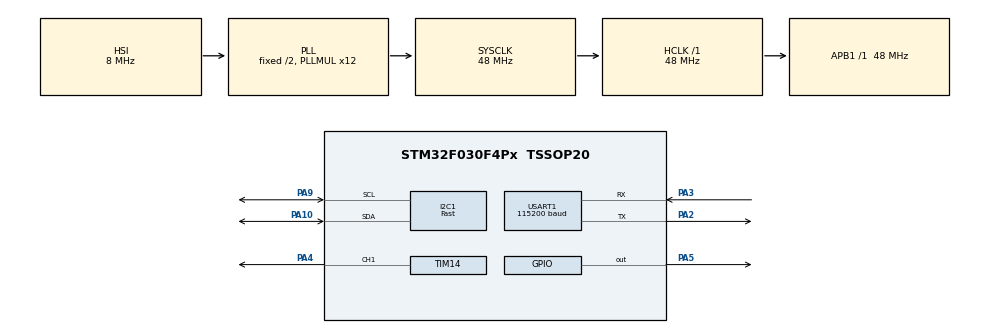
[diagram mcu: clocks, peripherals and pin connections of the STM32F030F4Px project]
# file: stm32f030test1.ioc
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Dma.Request0=USART1_RX
Dma.Request1=USART1_TX
Dma.USART1_RX.0.Direction=DMA_PERIPH_TO_MEMORY
Dma.USART1_RX.0.Instance=DMA1_Channel3
Dma.USART1_RX.0.MemDataAlignment=DMA_MDATAALIGN_BYTE
Dma.USART1_RX.0.MemInc=DMA_MINC_ENABLE
Dma.USART1_RX.0.Mode=DMA_CIRCULAR
Dma.USART1_RX.0.PeriphDataAlignment=DMA_PDATAALIGN_BYTE
Dma.USART1_RX.0.PeriphInc=DMA_PINC_DISABLE
Dma.USART1_RX.0.Priority=DMA_PRIORITY_LOW
Dma.USART1_TX.1.Direction=DMA_MEMORY_TO_PERIPH
Dma.USART1_TX.1.Instance=DMA1_Channel2
Dma.USART1_TX.1.MemDataAlignment=DMA_MDATAALIGN_BYTE
Dma.USART1_TX.1.MemInc=DMA_MINC_ENABLE
Dma.USART1_TX.1.Mode=DMA_NORMAL
Dma.USART1_TX.1.PeriphDataAlignment=DMA_PDATAALIGN_BYTE
Dma.USART1_TX.1.PeriphInc=DMA_PINC_DISABLE
Dma.USART1_TX.1.Priority=DMA_PRIORITY_LOW
I2C1.I2C_Speed_Mode=I2C_Fast
I2C1.Timing=0x0000020B
Mcu.Family=STM32F0
Mcu.Name=STM32F030F4Px
Mcu.Package=TSSOP20
NVIC.DMA1_Channel2_3_IRQn=true\:0\:0\:false\:false\:true\:false\:true
NVIC.USART1_IRQn=true\:0\:0\:false\:false\:true\:true\:true
PA10.Mode=I2C
PA10.Signal=I2C1_SDA
PA2.GPIO_PuPd=GPIO_PULLUP
PA2.Mode=Asynchronous
PA2.Signal=USART1_TX
PA3.GPIO_PuPd=GPIO_PULLUP
PA3.Mode=Asynchronous
PA3.Signal=USART1_RX
PA4.GPIO_Speed=GPIO_SPEED_FREQ_MEDIUM
PA4.Signal=S_TIM14_CH1
PA5.Signal=GPIO_Output
PA9.Mode=I2C
PA9.Signal=I2C1_SCL
ProjectManager.HeapSize=0x200
ProjectManager.StackSize=0x400
ProjectManager.TargetToolchain=MDK-ARM V5
RCC.AHBFreq_Value=48000000
RCC.APB1Freq_Value=48000000
RCC.APB1TimFreq_Value=48000000
RCC.HCLKFreq_Value=48000000
RCC.PLLMUL=RCC_PLL_MUL12
RCC.SYSCLKFreq_VALUE=48000000
RCC.SYSCLKSource=RCC_SYSCLKSOURCE_PLLCLK
SH.S_TIM14_CH1.0=TIM14_CH1,PWM Generation1 CH1
TIM14.Channel=TIM_CHANNEL_1
TIM14.OCPolarity_1=TIM_OCPOLARITY_HIGH
TIM14.Period=1000-1
TIM14.Prescaler=48-1
USART1.BaudRate=115200
USART1.VirtualMode-Asynchronous=VM_ASYNC
VP_TIM14_VS_ClockSourceINT.Mode=Enable_Timer
board=custom

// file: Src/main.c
/* USER CODE BEGIN Header */
/**
  ******************************************************************************
  * @file           : main.c
  * @brief          : Main program body
  ******************************************************************************
  * @attention
  *
  * <h2><center>&copy; Copyright (c) 2019 STMicroelectronics.
  * All rights reserved.</center></h2>
  *
  * This software component is licensed by ST under BSD 3-Clause license,
  * the "License"; You may not use this file except in compliance with the
  * License. You may obtain a copy of the License at:
  *                        opensource.org/licenses/BSD-3-Clause
  *
  ******************************************************************************
  */
/* USER CODE END Header */

#include "main.h"

/* USER CODE BEGIN Includes */
#include "led.h"
#include "stm32_ds3231.h"
/* USER CODE END Includes */

/* USER CODE BEGIN PD */
#define SENDBUFF_SIZE              100  // 串口DMA发送缓冲区大小
/* USER CODE END PD */

I2C_HandleTypeDef hi2c1;

TIM_HandleTypeDef htim14;

UART_HandleTypeDef huart1;
DMA_HandleTypeDef hdma_usart1_rx;
DMA_HandleTypeDef hdma_usart1_tx;

/* USER CODE BEGIN PV */
/* 私有变量 ------------------------------------------------------------------*/
uint8_t COM1_Buffer;
uint8_t COM1_RecData[100];
uint16_t COM1_Point=0;
uint8_t aTxBuffer[SENDBUFF_SIZE];       // 串口DMA发送缓冲区

uint16_t ledblue;

_RTC rtc = {
    .Year = 19, .Month = 6, .Date = 18,
    .DaysOfWeek = TUESDAY,
    .Hour = 22, .Min = 12, .Sec = 12
};

uint8_t regVal;
float rtcTemp;
/* USER CODE END PV */

void SystemClock_Config(void);
static void MX_GPIO_Init(void);
static void MX_DMA_Init(void);
static void MX_USART1_UART_Init(void);
static void MX_I2C1_Init(void);
static void MX_TIM14_Init(void);
/* USER CODE BEGIN PFP */
void NEW_UART1_Callback(void);
void User_Defined_Function(void);
void helloICKEY(void);
/* USER CODE END PFP */

int main(void)
{
  /* USER CODE BEGIN 1 */
ledblue=0;
  /* USER CODE END 1 */

  /* MCU Configuration--------------------------------------------------------*/

  /* Reset of all peripherals, Initializes the Flash interface and the Systick. */
  HAL_Init();

  /* Configure the system clock */
  SystemClock_Config();

  /* Initialize all configured peripherals */
  MX_GPIO_Init();
  MX_DMA_Init();
  MX_USART1_UART_Init();
  MX_I2C1_Init();
  MX_TIM14_Init();
  /* USER CODE BEGIN 2 */

	/* 使能接收，进入中断回调函数 */
	HAL_UART_Receive_DMA(&huart1,&COM1_Buffer,1);//
  HAL_UART_Transmit_DMA(&huart1,aTxBuffer,sizeof(aTxBuffer));//
HAL_TIM_PWM_Start(&htim14,TIM_CHANNEL_1);

  DS3231_Init(&hi2c1);
  DS3231_SetTime(&rtc);

  /* Configure Alarm1 */
  DS3231_ClearAlarm1();
  //DS3231_SetAlarm1(ALARM_MODE_ONCE_PER_SECOND, 0, 0, 0, 0);
  DS3231_SetAlarm1(ALARM_MODE_SEC_MATCHED, 0, 0, 0, 30);

  /* USER CODE END 2 */
  /* Infinite loop */
  /* USER CODE BEGIN WHILE */
	helloICKEY();
  while (1)
  {

    /* USER CODE END WHILE */

    /* USER CODE BEGIN 3 */

	//	Blue_Led(bright,htim14);
		__HAL_TIM_SET_COMPARE(&htim14,TIM_CHANNEL_1,1);
		HAL_Delay(500);
		while(ledblue<1000)
		{
			ledblue++;
			Blue_Led(ledblue,htim14);
			HAL_Delay(1);
		}
		while(ledblue)
		{
			ledblue--;
			Blue_Led(ledblue,htim14);
			HAL_Delay(1);
		}

		DS3231_GetTime(&rtc);
    DS3231_ReadTemperature(&rtcTemp);

    ReadRegister(DS3231_REG_STATUS, &regVal);
    if(regVal & DS3231_STA_A1F)
    {
      regVal &= ~DS3231_STA_A1F;
      WriteRegister(DS3231_REG_STATUS, regVal);
    }
		printf("Date = 20%d  %d  %d\n",rtc.Year,rtc.Month,rtc.Date);
		printf("Time = %d : %d : %d\n",rtc.Hour,rtc.Min,rtc.Sec);
		printf("Temperature = %f\n",rtcTemp);
		helloICKEY();
  }
  /* USER CODE END 3 */
}

void SystemClock_Config(void)
{
  RCC_OscInitTypeDef RCC_OscInitStruct = {0};
  RCC_ClkInitTypeDef RCC_ClkInitStruct = {0};
  RCC_PeriphCLKInitTypeDef PeriphClkInit = {0};

  /** Initializes the CPU, AHB and APB busses clocks
  */
  RCC_OscInitStruct.OscillatorType = RCC_OSCILLATORTYPE_HSI;
  RCC_OscInitStruct.HSIState = RCC_HSI_ON;
  RCC_OscInitStruct.HSICalibrationValue = RCC_HSICALIBRATION_DEFAULT;
  RCC_OscInitStruct.PLL.PLLState = RCC_PLL_ON;
  RCC_OscInitStruct.PLL.PLLSource = RCC_PLLSOURCE_HSI;
  RCC_OscInitStruct.PLL.PLLMUL = RCC_PLL_MUL12;
  RCC_OscInitStruct.PLL.PREDIV = RCC_PREDIV_DIV1;
  if (HAL_RCC_OscConfig(&RCC_OscInitStruct) != HAL_OK)
  {
    Error_Handler();
  }
  /** Initializes the CPU, AHB and APB busses clocks
  */
  RCC_ClkInitStruct.ClockType = RCC_CLOCKTYPE_HCLK|RCC_CLOCKTYPE_SYSCLK
                              |RCC_CLOCKTYPE_PCLK1;
  RCC_ClkInitStruct.SYSCLKSource = RCC_SYSCLKSOURCE_PLLCLK;
  RCC_ClkInitStruct.AHBCLKDivider = RCC_SYSCLK_DIV1;
  RCC_ClkInitStruct.APB1CLKDivider = RCC_HCLK_DIV1;

  if (HAL_RCC_ClockConfig(&RCC_ClkInitStruct, FLASH_LATENCY_1) != HAL_OK)
  {
    Error_Handler();
  }
  PeriphClkInit.PeriphClockSelection = RCC_PERIPHCLK_USART1|RCC_PERIPHCLK_I2C1;
  PeriphClkInit.Usart1ClockSelection = RCC_USART1CLKSOURCE_PCLK1;
  PeriphClkInit.I2c1ClockSelection = RCC_I2C1CLKSOURCE_HSI;
  if (HAL_RCCEx_PeriphCLKConfig(&PeriphClkInit) != HAL_OK)
  {
    Error_Handler();
  }
}

static void MX_I2C1_Init(void)
{

  hi2c1.Instance = I2C1;
  hi2c1.Init.Timing = 0x0000020B;
  hi2c1.Init.OwnAddress1 = 0;
  hi2c1.Init.AddressingMode = I2C_ADDRESSINGMODE_7BIT;
  hi2c1.Init.DualAddressMode = I2C_DUALADDRESS_DISABLE;
  hi2c1.Init.OwnAddress2 = 0;
  hi2c1.Init.OwnAddress2Masks = I2C_OA2_NOMASK;
  hi2c1.Init.GeneralCallMode = I2C_GENERALCALL_DISABLE;
  hi2c1.Init.NoStretchMode = I2C_NOSTRETCH_DISABLE;
  if (HAL_I2C_Init(&hi2c1) != HAL_OK)
  {
    Error_Handler();
  }
  /** Configure Analogue filter
  */
  if (HAL_I2CEx_ConfigAnalogFilter(&hi2c1, I2C_ANALOGFILTER_ENABLE) != HAL_OK)
  {
    Error_Handler();
  }
  /** Configure Digital filter
  */
  if (HAL_I2CEx_ConfigDigitalFilter(&hi2c1, 0) != HAL_OK)
  {
    Error_Handler();
  }

}

static void MX_TIM14_Init(void)
{

  TIM_OC_InitTypeDef sConfigOC = {0};

  htim14.Instance = TIM14;
  htim14.Init.Prescaler = 48-1;
  htim14.Init.CounterMode = TIM_COUNTERMODE_UP;
  htim14.Init.Period = 1000-1;
  htim14.Init.ClockDivision = TIM_CLOCKDIVISION_DIV1;
  htim14.Init.AutoReloadPreload = TIM_AUTORELOAD_PRELOAD_DISABLE;
  if (HAL_TIM_Base_Init(&htim14) != HAL_OK)
  {
    Error_Handler();
  }
  if (HAL_TIM_PWM_Init(&htim14) != HAL_OK)
  {
    Error_Handler();
  }
  sConfigOC.OCMode = TIM_OCMODE_PWM1;
  sConfigOC.Pulse = 0;
  sConfigOC.OCPolarity = TIM_OCPOLARITY_HIGH;
  sConfigOC.OCFastMode = TIM_OCFAST_DISABLE;
  if (HAL_TIM_PWM_ConfigChannel(&htim14, &sConfigOC, TIM_CHANNEL_1) != HAL_OK)
  {
    Error_Handler();
  }
  HAL_TIM_MspPostInit(&htim14);

}

static void MX_USART1_UART_Init(void)
{

  huart1.Instance = USART1;
  huart1.Init.BaudRate = 115200;
  huart1.Init.WordLength = UART_WORDLENGTH_8B;
  huart1.Init.StopBits = UART_STOPBITS_1;
  huart1.Init.Parity = UART_PARITY_NONE;
  huart1.Init.Mode = UART_MODE_TX_RX;
  huart1.Init.HwFlowCtl = UART_HWCONTROL_NONE;
  huart1.Init.OverSampling = UART_OVERSAMPLING_16;
  huart1.Init.OneBitSampling = UART_ONE_BIT_SAMPLE_DISABLE;
  huart1.AdvancedInit.AdvFeatureInit = UART_ADVFEATURE_NO_INIT;
  if (HAL_UART_Init(&huart1) != HAL_OK)
  {
    Error_Handler();
  }

}

static void MX_DMA_Init(void)
{
  /* DMA controller clock enable */
  __HAL_RCC_DMA1_CLK_ENABLE();

  /* DMA interrupt init */
  /* DMA1_Channel2_3_IRQn interrupt configuration */
  HAL_NVIC_SetPriority(DMA1_Channel2_3_IRQn, 0, 0);
  HAL_NVIC_EnableIRQ(DMA1_Channel2_3_IRQn);

}

static void MX_GPIO_Init(void)
{
  GPIO_InitTypeDef GPIO_InitStruct = {0};

  /* GPIO Ports Clock Enable */
  __HAL_RCC_GPIOA_CLK_ENABLE();

  /*Configure GPIO pin Output Level */
  HAL_GPIO_WritePin(GPIOA, GPIO_PIN_5, GPIO_PIN_RESET);

  /*Configure GPIO pin : PA5 */
  GPIO_InitStruct.Pin = GPIO_PIN_5;
  GPIO_InitStruct.Mode = GPIO_MODE_OUTPUT_PP;
  GPIO_InitStruct.Pull = GPIO_NOPULL;
  GPIO_InitStruct.Speed = GPIO_SPEED_FREQ_LOW;
  HAL_GPIO_Init(GPIOA, &GPIO_InitStruct);

}

/* USER CODE BEGIN 4 */
/**
  * 函数功能: 串口接收完成回调函数
  * 输入参数: 无
  * 返 回 值: 无
  * 说    明：无
  */
void HAL_UART_RxCpltCallback(UART_HandleTypeDef *UartHandle)
{
	if(UartHandle->Instance==USART1)//串口1
	{
		NEW_UART1_Callback();
	}
}
void NEW_UART1_Callback()
{

}
/**
  * 函数功能: 重定向c库函数printf到DEBUG_USARTx
  * 输入参数: 无
  * 返 回 值: 无
  * 说    明：无
  */
int fputc(int ch, FILE *f)
{
  HAL_UART_Transmit(&huart1, (uint8_t *)&ch, 1,0xffff);
  return ch;
}

/**
  * 函数功能: 重定向c库函数getchar,scanf到DEBUG_USARTx
  * 输入参数: 无
  * 返 回 值: 无
  * 说    明：无
  */
int fgetc(FILE * f)
{
  uint8_t ch = 0;
  HAL_UART_Receive(&huart1,&ch, 1, 0xffff);
  return ch;
}

void helloICKEY(void)
{
	int sum1;
	float sum2;
	int a=12345,b=56789;
	float aa=12345.678,bb=56789.012;
	int n=1000000;
	int i;
	uint32_t time_start;
	uint32_t time;

	time_start=HAL_GetTick();
	for(i=0;i<n;i++)
	{
		sum1=a+b;
	}
	time=HAL_GetTick()-time_start;
	printf("int add test 1m times: %d ms\n",time);

	time_start=HAL_GetTick();
	for(i=0;i<n;i++)
	{
		sum2=aa+bb;
	}
	time=HAL_GetTick()-time_start;
	printf("float add test 1m times: %d ms\n",time);

	time_start=HAL_GetTick();
	for(i=0;i<n;i++)
	{
		sum1=a*b;
	}
	time=HAL_GetTick()-time_start;
	printf("int mul test 1m times: %d ms\n",time);

	time_start=HAL_GetTick();
	for(i=0;i<n;i++)
	{
		sum2=aa*bb;
	}
	time=HAL_GetTick()-time_start;
	printf("float mul test 1m times: %d ms\n",time);

	time_start=HAL_GetTick();
	for(i=0;i<n;i++)
	{
		sum2=aa/bb;
	}
	time=HAL_GetTick()-time_start;
	printf("float div test 1m times: %d ms\n",time);

  sum1++;
	sum2++;
}

/* USER CODE END 4 */

void Error_Handler(void)
{
}

/************************ (C) COPYRIGHT STMicroelectronics *****END OF FILE****/
